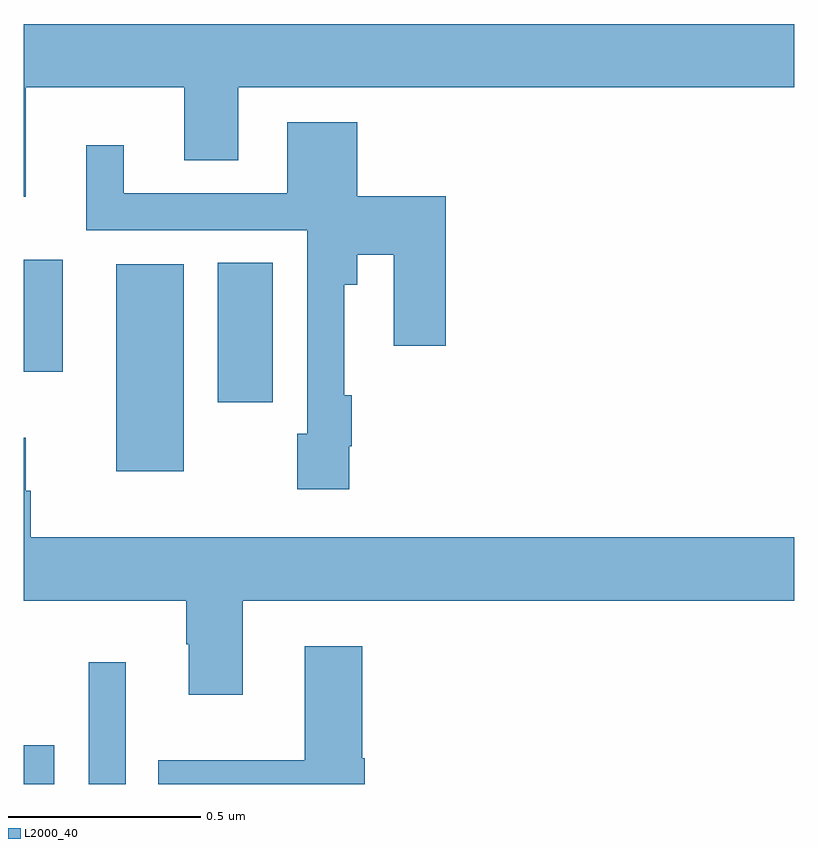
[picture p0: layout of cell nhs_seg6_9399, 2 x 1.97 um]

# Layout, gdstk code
import gdstk
lib = gdstk.Library(unit=1e-6, precision=1e-09)
def R(c, l, rs):  # rectangles x0, y0, x1, y1
    for r in rs: c.add(gdstk.rectangle(r[:2], r[2:], *l))
def P(c, l, *ps):  # polygons
    for p in ps: c.add(gdstk.Polygon(p, *l))
L2000_40 = (2000, 40)

nhs_seg6_9399 = lib.new_cell('nhs_seg6_9399')
R(nhs_seg6_9399, L2000_40, [(233,973.5,233.08,973.6), (233.169,973.5,233.265,973.816), (233.24,974.312,233.416,974.848), (233.504,974.49,233.647,974.852), (233,974.57,233.101,974.86)])
P(nhs_seg6_9399, L2000_40, [(233.005,975.308),(233.417,975.308),(233.417,975.118),(233.557,975.118),(233.557,975.308),(235,975.308),(235,975.472),(233,975.472),(233,975.024),(233.005,975.024)],
  [(233.845,974.377),(233.852,974.377),(233.852,974.509),(233.832,974.509),(233.832,974.795),(233.866,974.795),(233.866,974.873),(233.96,974.873),(233.96,974.637),(234.095,974.637),(234.095,975.025),(233.866,975.025),(233.866,975.217),(233.684,975.217),(233.684,975.033),(233.26,975.033),(233.26,975.157),(233.162,975.157),(233.162,974.937),(233.736,974.937),(233.736,974.409),(233.71,974.409),(233.71,974.265),(233.845,974.265)],
  [(233.569,973.976),(235,973.976),(235,974.14),(233.018,974.14),(233.018,974.261),(233.005,974.261),(233.005,974.398),(233,974.398),(233,973.976),(233.422,973.976),(233.422,973.862),(233.429,973.862),(233.429,973.731),(233.569,973.731)],
  [(233.885,973.567),(233.879,973.567),(233.879,973.858),(233.729,973.858),(233.729,973.561),(233.35,973.561),(233.35,973.5),(233.885,973.5)])

lib.write_gds('nhs_seg6_9399.gds')
